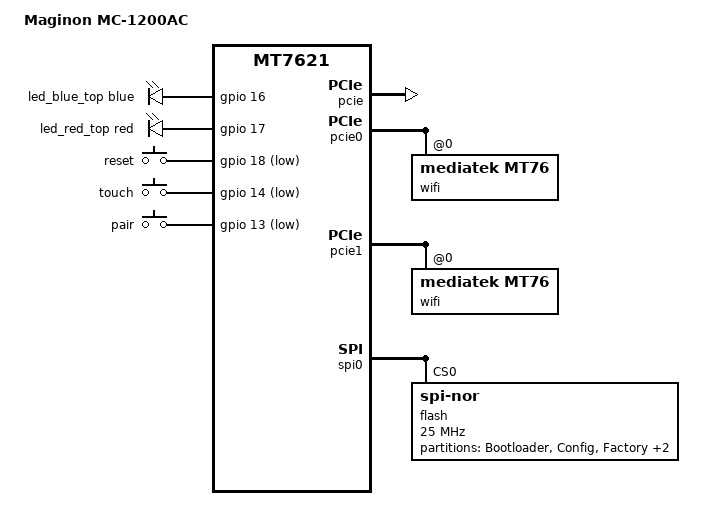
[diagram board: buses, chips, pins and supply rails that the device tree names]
// SPDX-License-Identifier: GPL-2.0-or-later OR MIT

#include "mt7621.dtsi"

#include <dt-bindings/gpio/gpio.h>
#include <dt-bindings/input/input.h>
#include <dt-bindings/leds/common.h>

/ {
	compatible = "maginon,mc-1200ac", "mediatek,mt7621-soc";
	model = "Maginon MC-1200AC";

	chosen {
		bootargs = "console=ttyS0,115200n8";
	};

	aliases {
		led-running = &led_blue_top;
		led-boot = &led_red_top;
		led-failsafe = &led_red_top;
		led-upgrade = &led_red_top;
		label-mac-device = &gmac0;
	};

	leds {
		compatible = "gpio-leds";

		led_blue_top: led_blue {
			function = LED_FUNCTION_STATUS;
			color = <LED_COLOR_ID_BLUE>;
			gpios = <&gpio 16 GPIO_ACTIVE_HIGH>;
		};

		led_red_top: led_red {
			function = LED_FUNCTION_STATUS;
			color = <LED_COLOR_ID_RED>;
			gpios = <&gpio 17 GPIO_ACTIVE_HIGH>;
		};
	};

	keys {
		compatible = "gpio-keys";

		reset {
			gpios = <&gpio 18 GPIO_ACTIVE_LOW>;
			linux,code = <KEY_RESTART>;
			label = "reset";
		};

		touch {
			gpios = <&gpio 14 GPIO_ACTIVE_LOW>;
			linux,code = <BTN_0>;
			label = "touch";
		};

		pair {
			gpios = <&gpio 13 GPIO_ACTIVE_LOW>;
			linux,code = <BTN_1>;
			label = "pair";
		};
	};
};

&pcie {
	status = "okay";
};

&pcie0 {
	wifi@0,0 {
		compatible = "mediatek,mt76";
		reg = <0x0000 0 0 0 0>;
		ieee80211-freq-limit = <2400000 2500000>;
		nvmem-cells = <&eeprom_factory_0>;
		nvmem-cell-names = "eeprom";
	};
};

&pcie1 {
	wifi@0,0 {
		compatible = "mediatek,mt76";
		reg = <0x0000 0 0 0 0>;
		ieee80211-freq-limit = <5000000 6000000>;
		nvmem-cells = <&eeprom_factory_8000>;
		nvmem-cell-names = "eeprom";
	};
};

&gmac0 {
	nvmem-cells = <&macaddr_factory_e000>;
	nvmem-cell-names = "mac-address";
};

&switch0 {
	ports {
		port@0 {
			status = "okay";
			label = "lan";
		};

		port@4 {
			status = "okay";
			label = "wan";
			nvmem-cells = <&macaddr_factory_e006>;
			nvmem-cell-names = "mac-address";
		};
	};
};

&spi0 {
	status = "okay";

	flash@0 {
		compatible = "jedec,spi-nor";
		reg = <0>;
		spi-max-frequency = <25000000>;

		partitions {
			compatible = "fixed-partitions";
			#address-cells = <1>;
			#size-cells = <1>;

			partition@0 {
				label = "Bootloader";
				reg = <0x00 0x30000>;
				read-only;
			};

			partition@30000 {
				label = "Config";
				reg = <0x30000 0x10000>;
				read-only;
			};

			partition@40000 {
				label = "Factory";
				reg = <0x40000 0x10000>;

				nvmem-layout {
					compatible = "fixed-layout";
					#address-cells = <1>;
					#size-cells = <1>;

					eeprom_factory_0: eeprom@0 {
						reg = <0x0 0x400>;
					};

					eeprom_factory_8000: eeprom@8000 {
						reg = <0x8000 0x4da8>;
					};

					macaddr_factory_e000: macaddr@e000 {
						reg = <0xe000 0x6>;
					};

					macaddr_factory_e006: macaddr@e006 {
						reg = <0xe006 0x6>;
					};
				};
			};

			partition@50000 {
				label = "firmware";
				reg = <0x50000 0xf30000>;
				compatible = "denx,fit";
			};

			partition@f80000 {
				label = "vendor";
				reg = <0xf80000 0x80000>;
			};
		};
	};
};

&state_default {
	gpio {
		groups = "jtag", "wdt";
		function = "gpio";
	};
};
